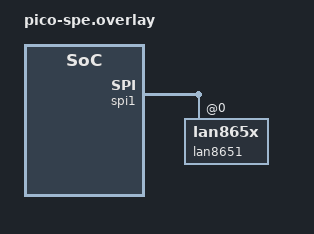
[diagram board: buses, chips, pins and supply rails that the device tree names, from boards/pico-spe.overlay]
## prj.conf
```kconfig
CONFIG_NETWORKING=y
CONFIG_NET_L2_ETHERNET=y
CONFIG_NET_IPV6=y
CONFIG_NET_IPV4=y
CONFIG_NET_ARP=y
CONFIG_NET_UDP=y
CONFIG_NET_DHCPV4=n
CONFIG_NET_DHCPV4_OPTION_CALLBACKS=n
CONFIG_DNS_RESOLVER=y

CONFIG_TEST_RANDOM_GENERATOR=y

CONFIG_INIT_STACKS=y

CONFIG_NET_MGMT=y
CONFIG_NET_MGMT_EVENT=y

CONFIG_NET_LOG=y
CONFIG_LOG=y

CONFIG_SLIP_STATISTICS=n
CONFIG_NET_SHELL=y
CONFIG_UART_CONSOLE=y
CONFIG_NET_ROUTE_MCAST=y       # Enable multicast routing (optional)

CONFIG_NET_CONFIG_SETTINGS=y
CONFIG_NET_CONFIG_MY_IPV4_ADDR="192.168.1.11"
CONFIG_NET_CONFIG_MY_IPV4_NETMASK="255.255.255.0"
CONFIG_NET_CONFIG_MY_IPV4_GW="192.168.1.1"
```

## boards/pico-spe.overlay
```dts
&spi1 {
    lan8651: lan865x@0 {
        local-mac-address = [CA 2F B7 10 23 85];
    };
};
```

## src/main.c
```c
/*
 * Copyright (c) 2017 ARM Ltd.
 * Copyright (c) 2016 Intel Corporation.
 *
 * SPDX-License-Identifier: Apache-2.0
 */

#include <zephyr/logging/log.h>
LOG_MODULE_REGISTER(net_dhcpv4_client_sample, LOG_LEVEL_DBG);

#include <zephyr/kernel.h>
#include <zephyr/linker/sections.h>
#include <errno.h>
#include <stdio.h>
#include <zephyr/usb/usb_device.h>
#include <zephyr/net/net_if.h>
#include <zephyr/net/net_core.h>
#include <zephyr/net/net_context.h>
#include <zephyr/net/net_mgmt.h>



int main(void)
{

	LOG_INF("Run SPE client");


	return 0;
	
}
```
